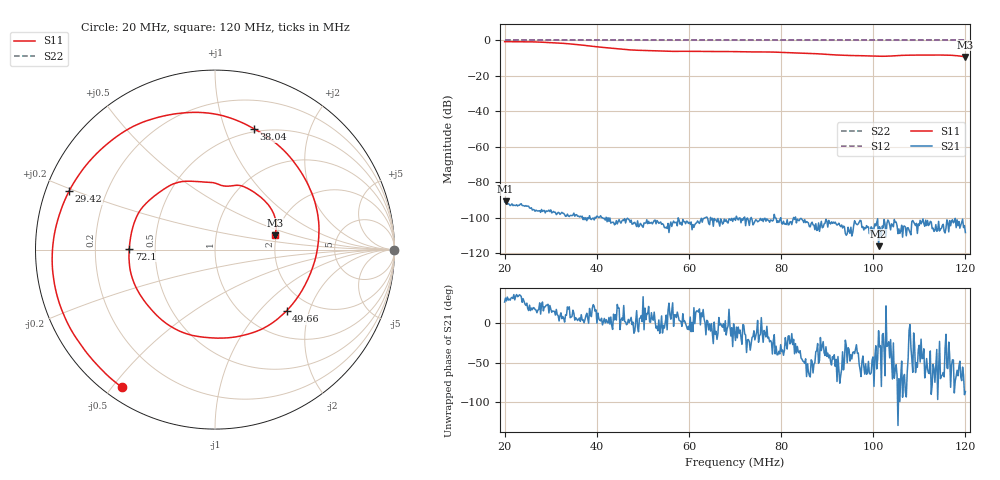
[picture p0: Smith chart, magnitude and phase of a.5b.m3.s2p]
! Anritsu VNA Master:  Model: MS2036C/10/77
! SN:  1601066
! /bd0/18may8/255.ns.m3.s2p
! Existing Calibration Information:
! TYPE:  Current Settings,  Active Cal Settings
! TIME:  05/08/2018 11:05:36 AM,  05/08/2018 10:55:57 AM
! INTERNAL TEMP:  50.8 C,  49.3 C
! # POINTS:  500,  500
! START FREQ:  20.000 MHz,  20.000 MHz
! STOP FREQ:  120.000 MHz,  120.000 MHz
! SOURCE POWER:  High,  High
! IFBW:  50 Hz,  50 Hz
! AVG FACTOR:  1 ,  1
! REF PLANE 1:  0 mm,  0 mm
! REF PLANE 2:  0 mm,  0 mm
! CAL TYPE:  Full S11,  Full S11
! CAL METHOD:  SOLT,  SOLT
! CAL LINE TYPE:  Coax,  Coax
! DUT PORT 1:  K-Conn(F),  K-Conn(F)
! DUT PORT 2:  K-Conn(F),  K-Conn(F)
! CAL STATUS:  OK: Accuracy High,  --
# GHZ S DB R 50.0
! FREQ.GHZ  S11DB  S11A  S21DB  S21A  S12DB  S12A  S22DB  S22A
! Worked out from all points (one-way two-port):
!   500 points, 20 MHz to 120 MHz, reference 50 ohm
!   highest |S21| = -90.82 dB at 20.2 MHz (marker M1); lowest = -116.0 dB at 101.2 MHz (marker M2)
!   lowest |S11| = -9.3 dB at 120 MHz (marker M3), VSWR 2.05, Z = 98.2 + j17.6 ohm
!   |S11| at or under -10 dB: nowhere
!   |S22| runs from 0.0 to 0.0 dB; largest |S21 - S12| = 1
!   S11 on the Smith chart (normalised r, x): 20 MHz: 0.05, -0.53; 29.42 MHz: 0.07, +0.19; 38.04 MHz: 0.47, +1.27; 49.66 MHz: 1.52, -1.43; 72.1 MHz: 0.35, +0.01; 120 MHz: 1.96, +0.35
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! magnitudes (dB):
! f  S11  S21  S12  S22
! 20 MHz  -0.7  -91.1  0.0  0.0
! 20.2 MHz  -0.7  -90.8  0.0  0.0
! 26.01 MHz  -0.8  -95.7  0.0  0.0
! 29.42 MHz  -1.1  -96.2  0.0  0.0
! 33.23 MHz  -1.7  -99.2  0.0  0.0
! 36.83 MHz  -2.6  -99.1  0.0  0.0
! 38.04 MHz  -3.0  -100.0  0.0  0.0
! 46.25 MHz  -5.1  -102.9  0.0  0.0
! 49.66 MHz  -5.6  -103.8  0.0  0.0
! 53.47 MHz  -6.0  -103.2  0.0  0.0
! 56.47 MHz  -6.2  -103.1  0.0  0.0
! 70.1 MHz  -6.3  -101.5  0.0  0.0
! 72.1 MHz  -6.4  -99.6  0.0  0.0
! 78.12 MHz  -6.5  -101.9  0.0  0.0
! 86.73 MHz  -7.4  -102.5  0.0  0.0
! 93.15 MHz  -8.3  -104.1  0.0  0.0
! 101.2 MHz  -8.9  -116.0  0.0  0.0
! 103.4 MHz  -8.8  -102.0  0.0  0.0
! 107.6 MHz  -8.3  -105.6  0.0  0.0
! 114.8 MHz  -8.2  -106.1  0.0  0.0
! 117.6 MHz  -8.5  -102.1  0.0  0.0
! 120 MHz  -9.3  -108.4  0.0  0.0
